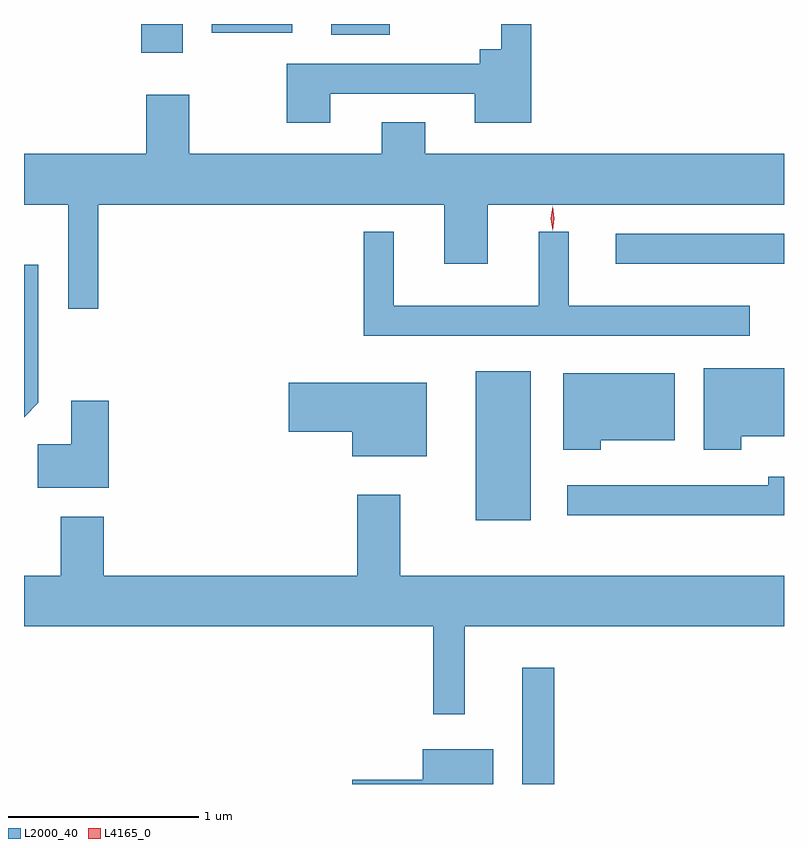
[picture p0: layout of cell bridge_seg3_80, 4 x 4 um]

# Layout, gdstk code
import gdstk
lib = gdstk.Library(unit=1e-6, precision=1e-09)
def R(c, l, rs):  # rectangles x0, y0, x1, y1
    for r in rs: c.add(gdstk.rectangle(r[:2], r[2:], *l))
def P(c, l, *ps):  # polygons
    for p in ps: c.add(gdstk.Polygon(p, *l))
L2000_40 = (2000, 40)
L4165_0 = (4165, 0)

bridge_seg3_80 = lib.new_cell('bridge_seg3_80')
R(bridge_seg3_80, L2000_40, [(1128.981,1160.707,1129.149,1161.318), (1128.736,1162.096,1129.024,1162.879), (1129.473,1163.446,1130.358,1163.604), (1126.976,1164.556,1127.194,1164.707), (1127.976,1164.651,1128.284,1164.707), (1127.346,1164.661,1127.769,1164.707)])
P(bridge_seg3_80, L2000_40, [(1127.969,1164.341),(1128.731,1164.341),(1128.731,1164.186),(1129.029,1164.186),(1129.029,1164.707),(1128.871,1164.707),(1128.871,1164.574),(1128.756,1164.574),(1128.756,1164.499),(1127.741,1164.499),(1127.741,1164.186),(1127.969,1164.186)],
  [(1126.749,1163.756),(1128.571,1163.756),(1128.571,1163.446),(1128.799,1163.446),(1128.799,1163.756),(1130.358,1163.756),(1130.358,1164.024),(1128.469,1164.024),(1128.469,1164.189),(1128.241,1164.189),(1128.241,1164.024),(1127.229,1164.024),(1127.229,1164.334),(1127.001,1164.334),(1127.001,1164.024),(1126.358,1164.024),(1126.358,1163.756),(1126.591,1163.756),(1126.591,1163.208),(1126.749,1163.208)],
  [(1130.178,1163.224),(1129.224,1163.224),(1129.224,1163.613),(1129.066,1163.613),(1129.066,1163.224),(1128.304,1163.224),(1128.304,1163.613),(1128.146,1163.613),(1128.146,1163.066),(1130.178,1163.066)],
  [(1126.434,1162.714),(1126.434,1163.439),(1126.358,1163.439),(1126.358,1162.637)],
  [(1130.134,1162.536),(1130.358,1162.536),(1130.358,1162.894),(1129.936,1162.894),(1129.936,1162.466),(1130.134,1162.466)],
  [(1129.394,1162.516),(1129.784,1162.516),(1129.784,1162.869),(1129.196,1162.869),(1129.196,1162.466),(1129.394,1162.466)],
  [(1128.479,1162.819),(1127.751,1162.819),(1127.751,1162.561),(1128.086,1162.561),(1128.086,1162.431),(1128.479,1162.431)],
  [(1126.804,1162.724),(1126.606,1162.724),(1126.606,1162.494),(1126.431,1162.494),(1126.431,1162.266),(1126.804,1162.266)],
  [(1130.358,1162.324),(1130.276,1162.324),(1130.276,1162.279),(1129.218,1162.279),(1129.218,1162.121),(1130.358,1162.121)],
  [(1128.679,1161.536),(1130.358,1161.536),(1130.358,1161.804),(1128.339,1161.804),(1128.339,1162.229),(1128.111,1162.229),(1128.111,1161.804),(1126.779,1161.804),(1126.779,1162.114),(1126.551,1162.114),(1126.551,1161.804),(1126.358,1161.804),(1126.358,1161.536),(1128.511,1161.536),(1128.511,1161.073),(1128.679,1161.073)],
  [(1128.829,1160.889),(1128.456,1160.889),(1128.456,1160.729),(1128.086,1160.729),(1128.086,1160.707),(1128.829,1160.707)])
P(bridge_seg3_80, L4165_0, [(1129.14,1163.618),(1129.131,1163.682),(1129.14,1163.747),(1129.14,1163.747),(1129.141,1163.747),(1129.15,1163.683),(1129.141,1163.618),(1129.141,1163.618)])

lib.write_gds('bridge_seg3_80.gds')
